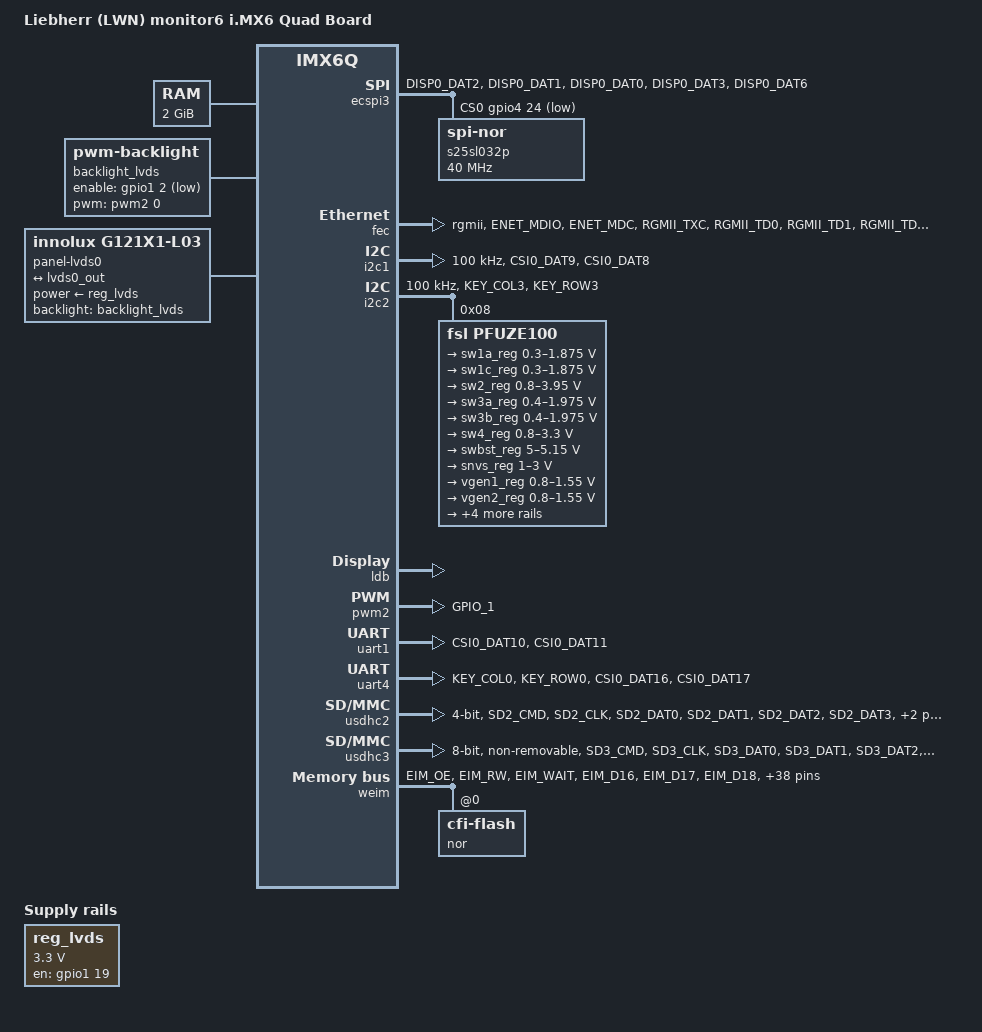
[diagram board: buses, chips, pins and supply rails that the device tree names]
/*
 * Copyright 2016-2017
 * Lukasz Majewski, DENX Software Engineering, lukma@denx.de
 *
 * This program is free software; you can redistribute it and/or modify
 * it under the terms of the GNU General Public License version 2 as
 * published by the Free Software Foundation.
 *
 */

/dts-v1/;

#include "imx6q.dtsi"

#include <dt-bindings/gpio/gpio.h>
#include <dt-bindings/pwm/pwm.h>

/ {
	model = "Liebherr (LWN) monitor6 i.MX6 Quad Board";
	compatible = "lwn,mccmon6", "fsl,imx6q";

	memory@10000000 {
		reg = <0x10000000 0x80000000>;
	};

	backlight_lvds: backlight {
		compatible = "pwm-backlight";
		pinctrl-names = "default";
		pinctrl-0 = <&pinctrl_backlight>;
		pwms = <&pwm2 0 5000000 PWM_POLARITY_INVERTED>;
		brightness-levels = <  0   1   2   3   4   5   6   7   8   9
				      10  11  12  13  14  15  16  17  18  19
				      20  21  22  23  24  25  26  27  28  29
				      30  31  32  33  34  35  36  37  38  39
				      40  41  42  43  44  45  46  47  48  49
				      50  51  52  53  54  55  56  57  58  59
				      60  61  62  63  64  65  66  67  68  69
				      70  71  72  73  74  75  76  77  78  79
				      80  81  82  83  84  85  86  87  88  89
				      90  91  92  93  94  95  96  97  98  99
				     100 101 102 103 104 105 106 107 108 109
				     110 111 112 113 114 115 116 117 118 119
				     120 121 122 123 124 125 126 127 128 129
				     130 131 132 133 134 135 136 137 138 139
				     140 141 142 143 144 145 146 147 148 149
				     150 151 152 153 154 155 156 157 158 159
				     160 161 162 163 164 165 166 167 168 169
				     170 171 172 173 174 175 176 177 178 179
				     180 181 182 183 184 185 186 187 188 189
				     190 191 192 193 194 195 196 197 198 199
				     200 201 202 203 204 205 206 207 208 209
				     210 211 212 213 214 215 216 217 218 219
				     220 221 222 223 224 225 226 227 228 229
				     230 231 232 233 234 235 236 237 238 239
				     240 241 242 243 244 245 246 247 248 249
				     250 251 252 253 254 255>;
		default-brightness-level = <50>;
		enable-gpios = <&gpio1 2 GPIO_ACTIVE_LOW>;
	};

	reg_lvds: regulator-lvds {
		compatible = "regulator-fixed";
		regulator-name = "lvds_ppen";
		regulator-min-microvolt = <3300000>;
		regulator-max-microvolt = <3300000>;
		regulator-boot-on;
		pinctrl-names = "default";
		pinctrl-0 = <&pinctrl_reg_lvds>;
		gpio = <&gpio1 19 GPIO_ACTIVE_HIGH>;
		enable-active-high;
	};

	panel-lvds0 {
		compatible = "innolux,g121x1-l03";
		backlight = <&backlight_lvds>;
		power-supply = <&reg_lvds>;

		port {
			panel_in_lvds0: endpoint {
				remote-endpoint = <&lvds0_out>;
			};
		};
	};
};

&ecspi3 {
	cs-gpios = <&gpio4 24 GPIO_ACTIVE_LOW>;
	pinctrl-names = "default";
	pinctrl-0 = <&pinctrl_ecspi3 &pinctrl_ecspi3_cs &pinctrl_ecspi3_flwp>;
	status = "okay";

	s25sl032p: flash@0 {
		#address-cells = <1>;
		#size-cells = <1>;
		compatible = "jedec,spi-nor";
		spi-max-frequency = <40000000>;
		reg = <0>;
	};
};

&fec {
	pinctrl-names = "default";
	pinctrl-0 = <&pinctrl_enet>;
	phy-mode = "rgmii";
	phy-reset-gpios = <&gpio1 27 GPIO_ACTIVE_LOW>;
	interrupts-extended = <&gpio1 6 IRQ_TYPE_LEVEL_HIGH>,
			      <&intc 0 119 IRQ_TYPE_LEVEL_HIGH>;
	status = "okay";
};

&i2c1 {
	clock-frequency = <100000>;
	pinctrl-names = "default";
	pinctrl-0 = <&pinctrl_i2c1>;
	status = "okay";
};

&i2c2 {
	clock-frequency = <100000>;
	pinctrl-names = "default";
	pinctrl-0 = <&pinctrl_i2c2>;
	status = "okay";

	pfuze100: pmic@8 {
		compatible = "fsl,pfuze100";
		reg = <0x08>;

		regulators {
			sw1a_reg: sw1ab {
				regulator-min-microvolt = <300000>;
				regulator-max-microvolt = <1875000>;
				regulator-boot-on;
				regulator-always-on;
				regulator-ramp-delay = <6250>;
			};

			sw1c_reg: sw1c {
				regulator-min-microvolt = <300000>;
				regulator-max-microvolt = <1875000>;
				regulator-boot-on;
				regulator-always-on;
				regulator-ramp-delay = <6250>;
			};

			sw2_reg: sw2 {
				regulator-min-microvolt = <800000>;
				regulator-max-microvolt = <3950000>;
				regulator-boot-on;
				regulator-always-on;
			};

			sw3a_reg: sw3a {
				regulator-min-microvolt = <400000>;
				regulator-max-microvolt = <1975000>;
				regulator-boot-on;
				regulator-always-on;
			};

			sw3b_reg: sw3b {
				regulator-min-microvolt = <400000>;
				regulator-max-microvolt = <1975000>;
				regulator-boot-on;
				regulator-always-on;
			};

			sw4_reg: sw4 {
				regulator-min-microvolt = <800000>;
				regulator-max-microvolt = <3300000>;
			};

			swbst_reg: swbst {
				regulator-min-microvolt = <5000000>;
				regulator-max-microvolt = <5150000>;
			};

			snvs_reg: vsnvs {
				regulator-min-microvolt = <1000000>;
				regulator-max-microvolt = <3000000>;
				regulator-boot-on;
				regulator-always-on;
			};

			vref_reg: vrefddr {
				regulator-boot-on;
				regulator-always-on;
			};

			vgen1_reg: vgen1 {
				regulator-min-microvolt = <800000>;
				regulator-max-microvolt = <1550000>;
			};

			vgen2_reg: vgen2 {
				regulator-min-microvolt = <800000>;
				regulator-max-microvolt = <1550000>;
			};

			vgen3_reg: vgen3 {
				regulator-min-microvolt = <1800000>;
				regulator-max-microvolt = <3300000>;
			};

			vgen4_reg: vgen4 {
				regulator-min-microvolt = <1800000>;
				regulator-max-microvolt = <3300000>;
				regulator-always-on;
			};

			vgen5_reg: vgen5 {
				regulator-min-microvolt = <1800000>;
				regulator-max-microvolt = <3300000>;
				regulator-always-on;
			};

			vgen6_reg: vgen6 {
				regulator-min-microvolt = <1800000>;
				regulator-max-microvolt = <3300000>;
				regulator-always-on;
			};
		};
	};
};

&ldb {
	status = "okay";

	lvds0: lvds-channel@0 {
		fsl,data-mapping = "spwg";
		fsl,data-width = <24>;
		status = "okay";

		port@4 {
			reg = <4>;

			lvds0_out: endpoint {
				remote-endpoint = <&panel_in_lvds0>;
			};
		};
	};
};

&pwm2 {
	#pwm-cells = <3>;
	pinctrl-names = "default";
	pinctrl-0 = <&pinctrl_pwm2>;
	status = "okay";
};

&uart1 {
	pinctrl-names = "default";
	pinctrl-0 = <&pinctrl_uart1>;
	status = "okay";
};

&uart4 {
	pinctrl-names = "default";
	pinctrl-0 = <&pinctrl_uart4>;
	uart-has-rtscts;
	status = "okay";
};

&usdhc2 {
	pinctrl-names = "default";
	pinctrl-0 = <&pinctrl_usdhc2>;
	cd-gpios = <&gpio1 4 GPIO_ACTIVE_LOW>;
	bus-width = <4>;
	status = "okay";
};

&usdhc3 {
	pinctrl-names = "default";
	pinctrl-0 = <&pinctrl_usdhc3>;
	bus-width = <8>;
	non-removable;
	status = "okay";
};

&weim {
	pinctrl-names = "default";
	pinctrl-0 = <&pinctrl_weim_nor &pinctrl_weim_cs0>;
	ranges = <0 0 0x08000000 0x08000000>;
	status = "okay";

	nor@0,0 {
		compatible = "cfi-flash";
		reg = <0 0 0x02000000>;
		#address-cells = <1>;
		#size-cells = <1>;
		bank-width = <2>;
		use-advanced-sector-protection;
		fsl,weim-cs-timing = <0x00620081 0x00000001 0x1c022000
				0x0000c000 0x1404a38e 0x00000000>;
	};
};

&iomuxc {
	pinctrl-names = "default";

	pinctrl_backlight: dispgrp {
		fsl,pins = <
			/* BLEN_OUT */
			MX6QDL_PAD_GPIO_2__GPIO1_IO02    0x1b0b0
		>;
	};

	pinctrl_ecspi3: ecspi3grp {
		fsl,pins = <
			MX6QDL_PAD_DISP0_DAT2__ECSPI3_MISO	0x100b1
			MX6QDL_PAD_DISP0_DAT1__ECSPI3_MOSI	0x100b1
			MX6QDL_PAD_DISP0_DAT0__ECSPI3_SCLK	0x100b1
		>;
	};

	pinctrl_ecspi3_cs: ecspi3csgrp {
		fsl,pins = <
			MX6QDL_PAD_DISP0_DAT3__GPIO4_IO24 0x80000000
		>;
	};

	pinctrl_ecspi3_flwp: ecspi3flwpgrp {
		fsl,pins = <
			MX6QDL_PAD_DISP0_DAT6__GPIO4_IO27 0x80000000
		>;
	};

	pinctrl_enet: enetgrp {
		fsl,pins = <
			MX6QDL_PAD_ENET_MDIO__ENET_MDIO		0x1b0b0
			MX6QDL_PAD_ENET_MDC__ENET_MDC		0x1b0b0
			MX6QDL_PAD_RGMII_TXC__RGMII_TXC		0x1b0b0
			MX6QDL_PAD_RGMII_TD0__RGMII_TD0		0x1b0b0
			MX6QDL_PAD_RGMII_TD1__RGMII_TD1		0x1b0b0
			MX6QDL_PAD_RGMII_TD2__RGMII_TD2		0x1b0b0
			MX6QDL_PAD_RGMII_TD3__RGMII_TD3		0x1b0b0
			MX6QDL_PAD_RGMII_TX_CTL__RGMII_TX_CTL	0x1b0b0
			MX6QDL_PAD_ENET_REF_CLK__ENET_TX_CLK	0x1b0b0
			MX6QDL_PAD_RGMII_RXC__RGMII_RXC		0x1b0b0
			MX6QDL_PAD_RGMII_RD0__RGMII_RD0		0x1b0b0
			MX6QDL_PAD_RGMII_RD1__RGMII_RD1		0x1b0b0
			MX6QDL_PAD_RGMII_RD2__RGMII_RD2		0x1b0b0
			MX6QDL_PAD_RGMII_RD3__RGMII_RD3		0x1b0b0
			MX6QDL_PAD_RGMII_RX_CTL__RGMII_RX_CTL	0x1b0b0
			MX6QDL_PAD_GPIO_16__ENET_REF_CLK 0x4001b0a8
			MX6QDL_PAD_GPIO_6__ENET_IRQ		0x000b1
			MX6QDL_PAD_ENET_RXD0__GPIO1_IO27        0x1b0b0
		>;
	};

	pinctrl_i2c1: i2c1grp {
		fsl,pins = <
			MX6QDL_PAD_CSI0_DAT9__I2C1_SCL	0x4001b8b1
			MX6QDL_PAD_CSI0_DAT8__I2C1_SDA	0x4001b8b1
		>;
	};

	pinctrl_i2c2: i2c2grp {
		fsl,pins = <
			MX6QDL_PAD_KEY_COL3__I2C2_SCL	0x4001b8b1
			MX6QDL_PAD_KEY_ROW3__I2C2_SDA	0x4001b8b1
		>;
	};

	pinctrl_pwm2: pwm2grp {
		fsl,pins = <
			MX6QDL_PAD_GPIO_1__PWM2_OUT	0x1b0b1
		>;
	};

	pinctrl_reg_lvds: reqlvdsgrp {
		fsl,pins = <
			/* LVDS_PPEN_OUT */
			MX6QDL_PAD_SD1_DAT2__GPIO1_IO19         0x1b0b0
		>;
	};

	pinctrl_uart1: uart1grp {
		fsl,pins = <
			MX6QDL_PAD_CSI0_DAT10__UART1_TX_DATA	0x1b0b1
			MX6QDL_PAD_CSI0_DAT11__UART1_RX_DATA	0x1b0b1
		>;
	};

	pinctrl_uart4: uart4grp {
		fsl,pins = <
			MX6QDL_PAD_KEY_COL0__UART4_TX_DATA	0x1b0b1
			MX6QDL_PAD_KEY_ROW0__UART4_RX_DATA	0x1b0b1
			MX6QDL_PAD_CSI0_DAT16__UART4_RTS_B	0x1b0b1
			MX6QDL_PAD_CSI0_DAT17__UART4_CTS_B	0x1b0b1
		>;
	};

	pinctrl_usdhc2: usdhc2grp {
		fsl,pins = <
			MX6QDL_PAD_SD2_CMD__SD2_CMD		0x17059
			MX6QDL_PAD_SD2_CLK__SD2_CLK		0x10059
			MX6QDL_PAD_SD2_DAT0__SD2_DATA0		0x17059
			MX6QDL_PAD_SD2_DAT1__SD2_DATA1		0x17059
			MX6QDL_PAD_SD2_DAT2__SD2_DATA2		0x17059
			MX6QDL_PAD_SD2_DAT3__SD2_DATA3		0x17059
			MX6QDL_PAD_GPIO_4__GPIO1_IO04           0x1b0b1
		>;
	};

	pinctrl_usdhc3: usdhc3grp {
		fsl,pins = <
			MX6QDL_PAD_SD3_CMD__SD3_CMD		0x17059
			MX6QDL_PAD_SD3_CLK__SD3_CLK		0x10059
			MX6QDL_PAD_SD3_DAT0__SD3_DATA0		0x17059
			MX6QDL_PAD_SD3_DAT1__SD3_DATA1		0x17059
			MX6QDL_PAD_SD3_DAT2__SD3_DATA2		0x17059
			MX6QDL_PAD_SD3_DAT3__SD3_DATA3		0x17059
			MX6QDL_PAD_SD3_DAT4__SD3_DATA4		0x17059
			MX6QDL_PAD_SD3_DAT5__SD3_DATA5		0x17059
			MX6QDL_PAD_SD3_DAT6__SD3_DATA6		0x17059
			MX6QDL_PAD_SD3_DAT7__SD3_DATA7		0x17059
			MX6QDL_PAD_SD3_RST__SD3_RESET		0x17059
		>;
	};

	pinctrl_weim_cs0: weimcs0grp {
		fsl,pins = <
			MX6QDL_PAD_EIM_CS0__EIM_CS0_B		0xb0b1
		>;
	};

	pinctrl_weim_nor: weimnorgrp {
		fsl,pins = <
			MX6QDL_PAD_EIM_OE__EIM_OE_B		0xb0b1
			MX6QDL_PAD_EIM_RW__EIM_RW		0xb0b1
			MX6QDL_PAD_EIM_WAIT__EIM_WAIT_B	0xb060
			MX6QDL_PAD_EIM_D16__EIM_DATA16		0x1b0b0
			MX6QDL_PAD_EIM_D17__EIM_DATA17		0x1b0b0
			MX6QDL_PAD_EIM_D18__EIM_DATA18		0x1b0b0
			MX6QDL_PAD_EIM_D19__EIM_DATA19		0x1b0b0
			MX6QDL_PAD_EIM_D20__EIM_DATA20		0x1b0b0
			MX6QDL_PAD_EIM_D21__EIM_DATA21		0x1b0b0
			MX6QDL_PAD_EIM_D22__EIM_DATA22		0x1b0b0
			MX6QDL_PAD_EIM_D23__EIM_DATA23		0x1b0b0
			MX6QDL_PAD_EIM_D24__EIM_DATA24		0x1b0b0
			MX6QDL_PAD_EIM_D25__EIM_DATA25		0x1b0b0
			MX6QDL_PAD_EIM_D26__EIM_DATA26		0x1b0b0
			MX6QDL_PAD_EIM_D27__EIM_DATA27		0x1b0b0
			MX6QDL_PAD_EIM_D28__EIM_DATA28		0x1b0b0
			MX6QDL_PAD_EIM_D29__EIM_DATA29		0x1b0b0
			MX6QDL_PAD_EIM_D30__EIM_DATA30		0x1b0b0
			MX6QDL_PAD_EIM_D31__EIM_DATA31		0x1b0b0
			MX6QDL_PAD_EIM_A23__EIM_ADDR23		0xb0b1
			MX6QDL_PAD_EIM_A22__EIM_ADDR22		0xb0b1
			MX6QDL_PAD_EIM_A21__EIM_ADDR21		0xb0b1
			MX6QDL_PAD_EIM_A20__EIM_ADDR20		0xb0b1
			MX6QDL_PAD_EIM_A19__EIM_ADDR19		0xb0b1
			MX6QDL_PAD_EIM_A18__EIM_ADDR18		0xb0b1
			MX6QDL_PAD_EIM_A17__EIM_ADDR17		0xb0b1
			MX6QDL_PAD_EIM_A16__EIM_ADDR16		0xb0b1
			MX6QDL_PAD_EIM_DA15__EIM_AD15		0xb0b1
			MX6QDL_PAD_EIM_DA14__EIM_AD14		0xb0b1
			MX6QDL_PAD_EIM_DA13__EIM_AD13		0xb0b1
			MX6QDL_PAD_EIM_DA12__EIM_AD12		0xb0b1
			MX6QDL_PAD_EIM_DA11__EIM_AD11		0xb0b1
			MX6QDL_PAD_EIM_DA10__EIM_AD10		0xb0b1
			MX6QDL_PAD_EIM_DA9__EIM_AD09		0xb0b1
			MX6QDL_PAD_EIM_DA8__EIM_AD08		0xb0b1
			MX6QDL_PAD_EIM_DA7__EIM_AD07		0xb0b1
			MX6QDL_PAD_EIM_DA6__EIM_AD06		0xb0b1
			MX6QDL_PAD_EIM_DA5__EIM_AD05		0xb0b1
			MX6QDL_PAD_EIM_DA4__EIM_AD04		0xb0b1
			MX6QDL_PAD_EIM_DA3__EIM_AD03		0xb0b1
			MX6QDL_PAD_EIM_DA2__EIM_AD02		0xb0b1
			MX6QDL_PAD_EIM_DA1__EIM_AD01		0xb0b1
			MX6QDL_PAD_EIM_DA0__EIM_AD00		0xb0b1
		>;
	};
};
